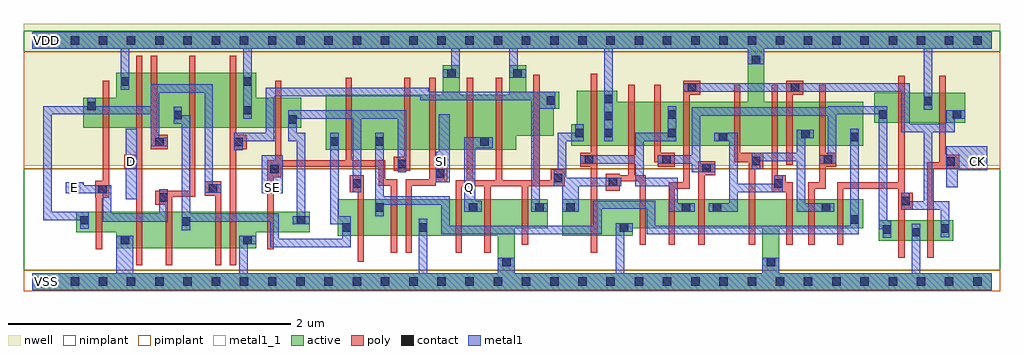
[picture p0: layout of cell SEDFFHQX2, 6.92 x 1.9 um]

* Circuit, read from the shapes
.subckt SEDFFHQX2 CK D E Q SE SI VDD VSS
M1 VSS E n1 VSS nfet w=0.145u l=0.045u
M2 n2 D VSS VSS nfet w=0.26u l=0.045u
M3 n3 E n2 VSS nfet w=0.26u l=0.045u
M4 n4 n1 n3 VSS nfet w=0.26u l=0.045u
M5 VSS n5 n4 VSS nfet w=0.26u l=0.045u
M6 n6 SE VSS VSS nfet w=0.145u l=0.045u
M7 n7 n6 n3 VSS nfet w=0.26u l=0.045u
M8 n8 SE n7 VSS nfet w=0.26u l=0.045u
M9 VSS SI n8 VSS nfet w=0.26u l=0.045u
M10 Q n9 VSS VSS nfet w=0.26u l=0.045u m=2
M11 n5 n9 VSS VSS nfet w=0.205u l=0.045u
M12 VSS n10 n9 VSS nfet w=0.26u l=0.045u
M13 n11 n9 VSS VSS nfet w=0.205u l=0.045u
M14 n10 n12 n11 VSS nfet w=0.205u l=0.045u
M15 n13 n14 n10 VSS nfet w=0.205u l=0.045u
M16 VSS n15 n13 VSS nfet w=0.205u l=0.045u
M17 n16 n13 VSS VSS nfet w=0.205u l=0.045u
M18 n15 n14 n16 VSS nfet w=0.205u l=0.045u
M19 n7 n12 n15 VSS nfet w=0.205u l=0.045u
M20 VSS n12 n14 VSS nfet w=0.145u l=0.045u
M21 n12 CK VSS VSS nfet w=0.145u l=0.045u
M22 VDD E n1 VDD pfet w=0.215u l=0.045u
M23 n17 D VDD VDD pfet w=0.39u l=0.045u
M24 n3 n1 n17 VDD pfet w=0.39u l=0.045u
M25 n18 E n3 VDD pfet w=0.39u l=0.045u
M26 VDD n5 n18 VDD pfet w=0.39u l=0.045u
M27 n6 SE VDD VDD pfet w=0.215u l=0.045u
M28 n7 SE n3 VDD pfet w=0.39u l=0.045u
M29 n19 n6 n7 VDD pfet w=0.39u l=0.045u
M30 VDD SI n19 VDD pfet w=0.39u l=0.045u
M31 Q n9 VDD VDD pfet w=0.39u l=0.045u m=2
M32 n5 n9 VDD VDD pfet w=0.31u l=0.045u
M33 VDD n10 n9 VDD pfet w=0.39u l=0.045u
M34 n20 n9 VDD VDD pfet w=0.31u l=0.045u
M35 n10 n14 n20 VDD pfet w=0.31u l=0.045u
M36 n13 n12 n10 VDD pfet w=0.31u l=0.045u
M37 VDD n15 n13 VDD pfet w=0.31u l=0.045u
M38 n21 n13 VDD VDD pfet w=0.31u l=0.045u
M39 n15 n12 n21 VDD pfet w=0.31u l=0.045u
M40 n7 n14 n15 VDD pfet w=0.31u l=0.045u
M41 VDD n12 n14 VDD pfet w=0.215u l=0.045u
M42 n12 CK VDD VDD pfet w=0.215u l=0.045u
.ends

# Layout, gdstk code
import gdstk
lib = gdstk.Library(unit=1e-6, precision=5e-10)
def R(c, l, rs):  # rectangles x0, y0, x1, y1
    for r in rs: c.add(gdstk.rectangle(r[:2], r[2:], *l))
def A(c, l, x, y, w, h, nx, ny, dx, dy):  # array of equal rectangles
    R(c, l, [(x+i*dx, y+j*dy, x+i*dx+w, y+j*dy+h) for i in range(nx) for j in range(ny)])
def P(c, l, *ps):  # polygons
    for p in ps: c.add(gdstk.Polygon(p, *l))
active = (1, 0)
nwell = (2, 0)
poly = (3, 0)
nimplant = (4, 0)
pimplant = (5, 0)
contact = (6, 0)
metal1 = (7, 0)
metal1_1 = (7, 1)

sedffhqx2 = lib.new_cell('SEDFFHQX2')
R(sedffhqx2, active, [(6,0.29,6.53,0.435), (5.97,1.125,6.615,1.34)])
P(sedffhqx2, active, [(0,1.77),(6.8,1.77),(6.8,1.65),(5.19,1.65),(5.19,1.275),(5.89,1.275),(5.89,0.965),(3.82,0.965),(3.82,1.115),(3.86,1.115),(3.86,1.355),(4.145,1.355),(4.145,1.275),(5.07,1.275),(5.07,1.65),(0,1.65)],
  [(0.595,1.48),(1.585,1.48),(1.585,1.305),(1.905,1.305),(1.905,1.09),(0.36,1.09),(0.36,1.305),(0.595,1.305)],
  [(2.91,1.535),(3.03,1.535),(3.03,1.325),(3.38,1.325),(3.38,1.535),(3.5,1.535),(3.5,1.345),(3.735,1.345),(3.735,1.225),(3.695,1.225),(3.695,1.035),(3.43,1.035),(3.43,0.935),(2.08,0.935),(2.08,1.325),(2.91,1.325)],
  [(0.31,0.495),(1.965,0.495),(1.965,0.35),(1.585,0.35),(1.585,0.235),(0.595,0.235),(0.595,0.35),(0.31,0.35)],
  [(2.165,0.585),(3.655,0.585),(3.655,0.38),(3.42,0.38),(3.42,0.06),(5.175,0.06),(5.175,0.38),(4.255,0.38),(4.255,0.325),(3.755,0.325),(3.755,0.585),(5.89,0.585),(5.89,0.38),(5.295,0.38),(5.295,0.06),(6.8,0.06),(6.8,-0.06),(0,-0.06),(0,0.06),(3.3,0.06),(3.3,0.325),(2.165,0.325)])
R(sedffhqx2, nwell, [(-0.06,0.82,6.86,1.83)])
P(sedffhqx2, poly, [(0.735,1.6),(0.78,1.6),(0.78,0.115),(0.735,0.115),(0.735,0.8),(0.65,0.8),(0.65,0.9),(0.735,0.9)],
  [(0.84,1.6),(0.885,1.6),(0.885,1.04),(0.96,1.04),(0.96,0.94),(0.84,0.94)],
  [(1.11,1.6),(1.155,1.6),(1.155,0.6),(0.99,0.6),(0.99,0.115),(0.945,0.115),(0.945,0.545),(0.87,0.545),(0.87,0.645),(1.11,0.645)],
  [(1.4,1.6),(1.445,1.6),(1.445,1.04),(1.52,1.04),(1.52,0.94),(1.445,0.94),(1.445,0.115),(1.4,0.115)],
  [(0.5,1.425),(0.545,1.425),(0.545,0.595),(0.495,0.595),(0.495,0.23),(0.45,0.23),(0.45,0.595),(0.445,0.595),(0.445,0.715),(0.5,0.715)],
  [(1.72,1.425),(1.765,1.425),(1.765,0.86),(2.22,0.86),(2.22,1.445),(2.265,1.445),(2.265,0.86),(2.5,0.86),(2.5,0.725),(2.585,0.725),(2.585,0.205),(2.54,0.205),(2.54,0.68),(2.455,0.68),(2.455,0.815),(1.765,0.815),(1.765,0.74),(1.71,0.74),(1.71,0.23),(1.665,0.23),(1.665,0.86),(1.72,0.86)],
  [(2.635,1.445),(2.68,1.445),(2.68,0.785),(2.56,0.785),(2.56,0.885),(2.635,0.885)],
  [(2.815,1.445),(2.86,1.445),(2.86,0.825),(2.94,0.825),(2.94,0.705),(2.86,0.705),(2.86,0.68),(2.69,0.68),(2.69,0.205),(2.645,0.205),(2.645,0.725),(2.815,0.725)],
  [(3.08,1.445),(3.125,1.445),(3.125,0.72),(3.285,0.72),(3.285,1.445),(3.33,1.445),(3.33,0.72),(3.55,0.72),(3.55,1.465),(3.595,1.465),(3.595,0.72),(3.675,0.72),(3.675,0.795),(3.775,0.795),(3.775,0.675),(3.515,0.675),(3.515,0.26),(3.47,0.26),(3.47,0.675),(3.25,0.675),(3.25,0.205),(3.205,0.205),(3.205,0.675),(3.045,0.675),(3.045,0.205),(3,0.205),(3,0.72),(3.08,0.72)],
  [(3.96,1.475),(4.005,1.475),(4.005,0.205),(3.96,0.205),(3.96,0.815),(3.885,0.815),(3.885,0.915),(3.96,0.915)],
  [(4.615,1.425),(4.735,1.425),(4.735,1.325),(4.66,1.325),(4.66,0.66),(4.555,0.66),(4.555,0.26),(4.51,0.26),(4.51,0.705),(4.615,0.705)],
  [(4.065,0.765),(4.165,0.765),(4.165,0.755),(4.225,0.755),(4.225,1.395),(4.27,1.395),(4.27,0.755),(4.35,0.755),(4.35,0.26),(4.305,0.26),(4.305,0.71),(4.165,0.71),(4.165,0.645),(4.065,0.645)],
  [(4.41,1.395),(4.455,1.395),(4.455,0.915),(4.555,0.915),(4.555,0.815),(4.435,0.815),(4.435,0.845),(4.41,0.845)],
  [(4.975,1.395),(5.02,1.395),(5.02,0.915),(5.18,0.915),(5.18,0.795),(5.125,0.795),(5.125,0.26),(5.08,0.26),(5.08,0.845),(4.975,0.845)],
  [(5.345,1.425),(5.465,1.425),(5.465,1.325),(5.39,1.325),(5.39,0.83),(5.345,0.83)],
  [(5.24,1.395),(5.285,1.395),(5.285,0.755),(5.34,0.755),(5.34,0.705),(5.39,0.705),(5.39,0.26),(5.345,0.26),(5.345,0.635),(5.24,0.635)],
  [(5.58,1.395),(5.625,1.395),(5.625,0.915),(5.7,0.915),(5.7,0.815),(5.625,0.815),(5.625,0.66),(5.545,0.66),(5.545,0.26),(5.5,0.26),(5.5,0.705),(5.58,0.705)],
  [(6.14,1.46),(6.185,1.46),(6.185,0.63),(6.24,0.63),(6.24,0.51),(6.185,0.51),(6.185,0.17),(6.14,0.17),(6.14,0.66),(5.75,0.66),(5.75,0.26),(5.705,0.26),(5.705,0.705),(6.14,0.705)],
  [(6.43,1.46),(6.475,1.46),(6.475,0.9),(6.57,0.9),(6.57,0.8),(6.39,0.8),(6.39,0.17),(6.345,0.17),(6.345,0.845),(6.43,0.845)],
  [(2.25,0.755),(2.35,0.755),(2.35,0.14),(2.305,0.14),(2.305,0.635),(2.25,0.635)],
  [(1.22,0.71),(1.34,0.71),(1.34,0.115),(1.295,0.115),(1.295,0.61),(1.22,0.61)],
  [(4.72,0.855),(4.84,0.855),(4.84,0.755),(4.765,0.755),(4.765,0.26),(4.72,0.26)])
R(sedffhqx2, nimplant, [(-0.06,0.08,6.86,0.8), (-0.06,1.63,6.86,1.78)])
R(sedffhqx2, pimplant, [(-0.06,-0.07,6.86,0.08), (-0.06,0.8,6.86,1.63)])
A(sedffhqx2, contact, 0.07, -0.03, 0.06, 0.06, 34, 2, 0.2, 1.71)
A(sedffhqx2, contact, 4.055, 1.025, 0.06, 0.06, 1, 3, 0, 0.12)
R(sedffhqx2, contact, [(3.33,0.11,3.39,0.17), (5.205,0.11,5.265,0.17), (0.625,0.265,0.685,0.325), (1.495,0.265,1.555,0.325), (6.235,0.32,6.295,0.38), (6.03,0.34,6.09,0.4), (6.44,0.345,6.5,0.405), (2.195,0.355,2.255,0.415), (2.74,0.355,2.8,0.415), (4.165,0.355,4.225,0.415), (1.06,0.395,1.12,0.455), (0.34,0.405,0.4,0.465), (1.875,0.405,1.935,0.465), (5.8,0.41,5.86,0.47), (2.43,0.495,2.49,0.555), (3.095,0.495,3.155,0.555), (3.565,0.495,3.625,0.555), (3.785,0.495,3.845,0.555), (4.605,0.495,4.665,0.555), (4.825,0.495,4.885,0.555), (5.595,0.495,5.655,0.555), (6.16,0.54,6.22,0.6), (0.9,0.565,0.96,0.625), (0.465,0.625,0.525,0.685), (1.25,0.63,1.31,0.69), (2.27,0.665,2.33,0.725), (5.26,0.665,5.32,0.725), (4.085,0.675,4.145,0.735), (3.695,0.705,3.755,0.765), (2.86,0.735,2.92,0.795), (1.685,0.77,1.745,0.83), (4.75,0.775,4.81,0.835), (2.59,0.805,2.65,0.865), (0.68,0.82,0.74,0.88), (6.48,0.82,6.54,0.88), (5.1,0.825,5.16,0.885), (3.915,0.835,3.975,0.895), (4.465,0.835,4.525,0.895), (5.61,0.835,5.67,0.895), (0.87,0.96,0.93,1.02), (1.43,0.96,1.49,1.02), (2.11,0.965,2.17,1.025), (2.43,0.965,2.49,1.025), (3.175,0.965,3.235,1.025), (4.865,0.995,4.925,1.055), (5.8,0.995,5.86,1.055), (5.45,1.015,5.51,1.075), (3.85,1.025,3.91,1.085), (4.505,1.025,4.565,1.085), (1.815,1.12,1.875,1.18), (1,1.15,1.06,1.21), (4.505,1.155,4.565,1.215), (6,1.155,6.06,1.215), (6.525,1.155,6.585,1.215), (1.495,1.185,1.555,1.245), (0.39,1.215,0.45,1.275), (6.32,1.25,6.38,1.31), (3.645,1.255,3.705,1.315), (4.645,1.345,4.705,1.405), (5.375,1.345,5.435,1.405), (0.625,1.39,0.685,1.45), (1.495,1.39,1.555,1.45), (2.94,1.445,3,1.505), (3.41,1.445,3.47,1.505), (5.1,1.54,5.16,1.6)])
R(sedffhqx2, metal1, [(0.66,0.585,0.74,1.085), (1.625,0.625,1.775,0.895)])
P(sedffhqx2, metal1, [(0,1.77),(6.8,1.77),(6.8,1.65),(6.38,1.65),(6.38,1.22),(6.32,1.22),(6.32,1.65),(5.19,1.65),(5.19,1.54),(5.07,1.54),(5.07,1.65),(4.115,1.65),(4.115,0.995),(4.055,0.995),(4.055,1.65),(3.44,1.65),(3.44,1.505),(3.5,1.505),(3.5,1.445),(3.38,1.445),(3.38,1.65),(3.03,1.65),(3.03,1.445),(2.91,1.445),(2.91,1.505),(2.97,1.505),(2.97,1.65),(1.555,1.65),(1.555,1.155),(1.495,1.155),(1.495,1.65),(0.685,1.65),(0.685,1.36),(0.625,1.36),(0.625,1.65),(0,1.65)],
  [(0.84,1.4),(1.28,1.4),(1.28,0.69),(1.34,0.69),(1.34,0.63),(1.22,0.63),(1.22,1.34),(0.9,1.34),(0.9,1.02),(0.96,1.02),(0.96,0.96),(0.84,0.96),(0.84,1.185),(0.135,1.185),(0.135,0.495),(0.4,0.495),(0.4,0.375),(0.34,0.375),(0.34,0.435),(0.075,0.435),(0.075,1.245),(0.39,1.245),(0.39,1.305),(0.45,1.305),(0.45,1.245),(0.84,1.245)],
  [(0.235,0.705),(0.365,0.705),(0.365,0.685),(0.56,0.685),(0.56,0.485),(0.9,0.485),(0.9,0.655),(0.96,0.655),(0.96,0.425),(0.5,0.425),(0.5,0.625),(0.235,0.625)],
  [(1,1.24),(1.06,1.24),(1.06,1.18),(1.12,1.18),(1.12,0.485),(1.745,0.485),(1.745,0.305),(2.195,0.305),(2.195,0.405),(2.11,0.405),(2.11,1.055),(2.17,1.055),(2.17,0.465),(2.255,0.465),(2.255,0.245),(1.685,0.245),(1.685,0.425),(1.12,0.425),(1.12,0.365),(1.06,0.365),(1.06,1.12),(1,1.12)],
  [(1.655,1.375),(2.81,1.375),(2.81,1.345),(3.705,1.345),(3.705,1.225),(3.595,1.225),(3.595,0.555),(3.655,0.555),(3.655,0.495),(3.535,0.495),(3.535,1.285),(2.75,1.285),(2.75,1.315),(1.715,1.315),(1.715,0.995),(1.49,0.995),(1.49,0.93),(1.43,0.93),(1.43,1.055),(1.655,1.055)],
  [(1.815,1.215),(2.65,1.215),(2.65,0.775),(2.59,0.775),(2.59,1.155),(2.33,1.155),(2.33,0.635),(2.27,0.635),(2.27,1.155),(1.875,1.155),(1.875,1.055),(1.935,1.055),(1.935,0.465),(1.965,0.465),(1.965,0.405),(1.845,0.405),(1.845,0.465),(1.875,0.465),(1.875,0.995),(1.815,0.995)],
  [(2.43,1.055),(2.49,1.055),(2.49,0.605),(2.96,0.605),(2.96,0.395),(3.975,0.395),(3.975,0.575),(4.415,0.575),(4.415,0.395),(5.8,0.395),(5.8,1.085),(5.86,1.085),(5.86,0.335),(4.355,0.335),(4.355,0.515),(4.035,0.515),(4.035,0.335),(2.9,0.335),(2.9,0.545),(2.49,0.545),(2.49,0.465),(2.43,0.465)],
  [(4.615,1.405),(6.22,1.405),(6.22,1.12),(6.48,1.12),(6.48,1.215),(6.615,1.215),(6.615,1.155),(6.54,1.155),(6.54,1.06),(6.38,1.06),(6.38,0.57),(6.5,0.57),(6.5,0.315),(6.44,0.315),(6.44,0.51),(6.16,0.51),(6.16,0.63),(6.22,0.63),(6.22,0.57),(6.32,0.57),(6.32,1.06),(6.16,1.06),(6.16,1.345),(4.615,1.345)],
  [(3.06,1.025),(3.265,1.025),(3.265,0.945),(3.14,0.945),(3.14,0.575),(3.185,0.575),(3.185,0.495),(3.06,0.495)],
  [(2.88,1.185),(2.96,1.185),(2.96,0.705),(2.86,0.705),(2.86,0.92),(2.88,0.92)],
  [(0.595,0.325),(0.715,0.325),(0.715,0.06),(1.465,0.06),(1.465,0.325),(1.585,0.325),(1.585,0.265),(1.525,0.265),(1.525,0.06),(2.74,0.06),(2.74,0.445),(2.8,0.445),(2.8,0.06),(3.3,0.06),(3.3,0.17),(3.42,0.17),(3.42,0.06),(4.135,0.06),(4.135,0.415),(4.255,0.415),(4.255,0.355),(4.195,0.355),(4.195,0.06),(5.175,0.06),(5.175,0.17),(5.295,0.17),(5.295,0.06),(6.235,0.06),(6.235,0.41),(6.295,0.41),(6.295,0.06),(6.8,0.06),(6.8,-0.06),(0,-0.06),(0,0.06),(0.595,0.06)],
  [(3.85,1.115),(3.91,1.115),(3.91,0.995),(3.785,0.995),(3.785,0.735),(4.175,0.735),(4.175,0.675),(3.875,0.675),(3.875,0.495),(3.755,0.495),(3.755,0.675),(3.695,0.675),(3.695,0.795),(3.725,0.795),(3.725,1.055),(3.85,1.055)],
  [(4.505,1.245),(4.565,1.245),(4.565,0.995),(4.335,0.995),(4.335,0.735),(4.575,0.735),(4.575,0.555),(4.695,0.555),(4.695,0.495),(4.515,0.495),(4.515,0.675),(4.275,0.675),(4.275,0.835),(3.885,0.835),(3.885,0.895),(4.275,0.895),(4.275,1.055),(4.505,1.055)],
  [(5.64,1.245),(6.06,1.245),(6.06,0.43),(6.09,0.43),(6.09,0.31),(6.03,0.31),(6.03,0.37),(6,0.37),(6,1.185),(5.7,1.185),(5.7,0.835),(5.58,0.835),(5.58,0.895),(5.64,0.895),(5.64,1.175),(4.735,1.175),(4.735,0.835),(4.84,0.835),(4.84,0.775),(4.675,0.775),(4.675,0.835),(4.435,0.835),(4.435,0.895),(4.675,0.895),(4.675,1.235),(5.64,1.235)],
  [(4.835,1.055),(5,1.055),(5,0.695),(5.26,0.695),(5.26,0.755),(5.32,0.755),(5.32,0.635),(5,0.635),(5,0.495),(4.795,0.495),(4.795,0.555),(4.94,0.555),(4.94,0.995),(4.835,0.995)],
  [(5.42,1.075),(5.54,1.075),(5.54,1.015),(5.48,1.015),(5.48,0.555),(5.685,0.555),(5.685,0.495),(5.42,0.495),(5.42,0.855),(5.16,0.855),(5.16,0.795),(5.1,0.795),(5.1,0.915),(5.42,0.915)],
  [(6.48,0.96),(6.77,0.96),(6.77,0.79),(6.56,0.79),(6.56,0.67),(6.48,0.67)])
A(sedffhqx2, metal1_1, 0.26, 0.625, 0.08, 0.08, 3, 1, 1.4, 0)
R(sedffhqx2, metal1_1, [(0.06,-0.04,0.14,0.04), (0.66,0.815,0.74,0.895), (2.86,0.815,2.94,0.895), (6.66,0.815,6.74,0.895), (0.06,1.67,0.14,1.75)])
sedffhqx2.add(gdstk.Label('Q', (3.1,0.665), layer=7, texttype=1))
sedffhqx2.add(gdstk.Label('CK', (6.7,0.855), layer=7, texttype=1))
sedffhqx2.add(gdstk.Label('SI', (2.9,0.855), layer=7, texttype=1))
sedffhqx2.add(gdstk.Label('SE', (1.7,0.665), layer=7, texttype=1))
sedffhqx2.add(gdstk.Label('D', (0.7,0.855), layer=7, texttype=1))
sedffhqx2.add(gdstk.Label('E', (0.3,0.665), layer=7, texttype=1))
sedffhqx2.add(gdstk.Label('VDD', (0.1,1.71), layer=7, texttype=1))
sedffhqx2.add(gdstk.Label('VSS', (0.1,0), layer=7, texttype=1))
sedffhqx2.add(gdstk.Label('SEDFFHQX2', (0,0), layer=63, texttype=0))

lib.write_gds('SEDFFHQX2.gds')
